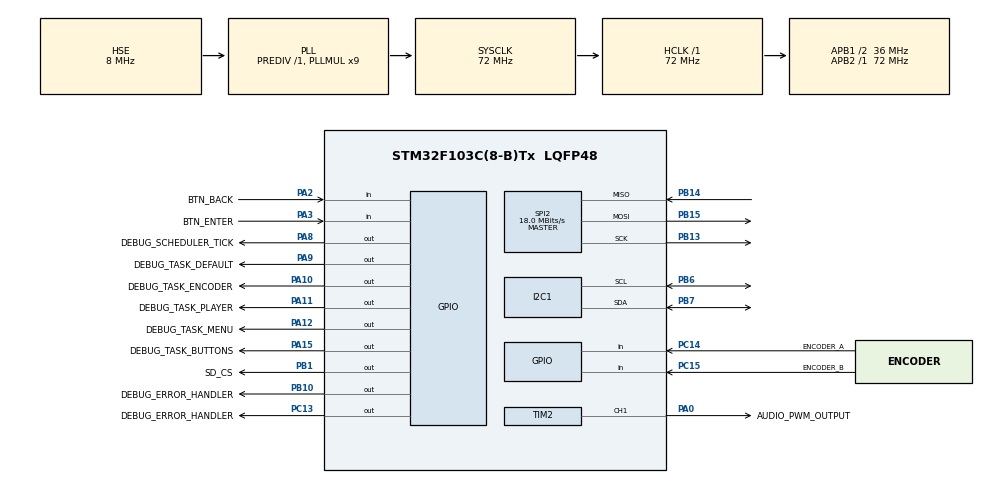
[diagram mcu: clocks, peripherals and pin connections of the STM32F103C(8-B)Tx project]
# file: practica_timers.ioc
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FATFS._FS_REENTRANT=0
FREERTOS.Mutexes01=menuMutex,Dynamic,NULL,Available;playerMutex,Dynamic,NULL,Available;fftMutex,Dynamic,NULL,Available
FREERTOS.Tasks01=defaultTask,24,128,StartDefaultTask,Default,NULL,Dynamic,NULL,NULL;menuTask,23,170,handleMenu,Default,(&displayParams),Dynamic,NULL,NULL;acceptButtonTas,40,200,handleButtonPress,Default,(&acceptButtonParams),Dynamic,NULL,NULL;cancelButtonTas,40,128,handleButtonPress,Default,(&cancelButtonParams),Dynamic,NULL,NULL;encoderTask,40,200,handleEncoder,Default,NULL,Dynamic,NULL,NULL;musicPlayer,8,200,handleMusicPlayer,Default,NULL,Dynamic,NULL,NULL;transformTask,8,400,handleFFT,Default,NULL,Dynamic,NULL,NULL
FREERTOS.configTOTAL_HEAP_SIZE=7200
FREERTOS.configUSE_APPLICATION_TASK_TAG=1
FREERTOS.configUSE_NEWLIB_REENTRANT=0
FREERTOS.configUSE_TICK_HOOK=1
I2C1.I2C_Mode=I2C_Fast
Mcu.Family=STM32F1
Mcu.Name=STM32F103C(8-B)Tx
Mcu.Package=LQFP48
NVIC.PriorityGroup=NVIC_PRIORITYGROUP_4
NVIC.TIM3_IRQn=true\:5\:0\:false\:false\:true\:true\:true\:true\:true
NVIC.TIM4_IRQn=true\:15\:0\:false\:false\:true\:false\:false\:true\:true
NVIC.TimeBase=TIM4_IRQn
NVIC.TimeBaseIP=TIM4
PA0-WKUP.GPIO_Label=AUDIO_PWM_OUTPUT
PA0-WKUP.Signal=S_TIM2_CH1_ETR
PA10.GPIO_Label=DEBUG_TASK_ENCODER
PA10.Signal=GPIO_Output
PA11.GPIO_Label=DEBUG_TASK_PLAYER
PA11.Signal=GPIO_Output
PA12.GPIO_Label=DEBUG_TASK_MENU
PA12.Signal=GPIO_Output
PA13.Mode=Serial_Wire
PA13.Signal=SYS_JTMS-SWDIO
PA14.Mode=Serial_Wire
PA14.Signal=SYS_JTCK-SWCLK
PA15.GPIO_Label=DEBUG_TASK_BUTTONS
PA15.Signal=GPIO_Output
PA2.GPIO_Label=BTN_BACK
PA2.Signal=GPIO_Input
PA3.GPIO_Label=BTN_ENTER
PA3.Signal=GPIO_Input
PA8.GPIO_Label=DEBUG_SCHEDULER_TICK
PA8.Signal=GPIO_Output
PA9.GPIO_Label=DEBUG_TASK_DEFAULT
PA9.Signal=GPIO_Output
PB1.GPIO_Label=SD_CS
PB1.Signal=GPIO_Output
PB10.GPIO_Label=DEBUG_ERROR_HANDLER
PB10.Signal=GPIO_Output
PB13.Mode=Full_Duplex_Master
PB13.Signal=SPI2_SCK
PB14.Mode=Full_Duplex_Master
PB14.Signal=SPI2_MISO
PB15.Mode=Full_Duplex_Master
PB15.Signal=SPI2_MOSI
PB6.Mode=I2C
PB6.Signal=I2C1_SCL
PB7.Mode=I2C
PB7.Signal=I2C1_SDA
PC13-TAMPER-RTC.GPIO_Label=DEBUG_ERROR_HANDLER
PC13-TAMPER-RTC.Signal=GPIO_Output
PC14-OSC32_IN.GPIO_Label=ENCODER_A
PC14-OSC32_IN.Signal=GPIO_Input
PC15-OSC32_OUT.GPIO_Label=ENCODER_B
PC15-OSC32_OUT.Signal=GPIO_Input
PD0-OSC_IN.Mode=HSE-External-Oscillator
PD0-OSC_IN.Signal=RCC_OSC_IN
PD1-OSC_OUT.Mode=HSE-External-Oscillator
PD1-OSC_OUT.Signal=RCC_OSC_OUT
ProjectManager.HeapSize=0x200
ProjectManager.StackSize=0x400
ProjectManager.TargetToolchain=STM32CubeIDE
RCC.AHBFreq_Value=72000000
RCC.APB1CLKDivider=RCC_HCLK_DIV2
RCC.APB1Freq_Value=36000000
RCC.APB1TimFreq_Value=72000000
RCC.APB2Freq_Value=72000000
RCC.APB2TimFreq_Value=72000000
RCC.HCLKFreq_Value=72000000
RCC.PLLMUL=RCC_PLL_MUL9
RCC.PLLSourceVirtual=RCC_PLLSOURCE_HSE
RCC.SYSCLKFreq_VALUE=72000000
RCC.SYSCLKSource=RCC_SYSCLKSOURCE_PLLCLK
RCC.USBFreq_Value=72000000
SH.S_TIM2_CH1_ETR.0=TIM2_CH1,PWM Generation1 CH1
SPI2.CalculateBaudRate=18.0 MBits/s
SPI2.Direction=SPI_DIRECTION_2LINES
SPI2.Mode=SPI_MODE_MASTER
SPI2.VirtualType=VM_MASTER
TIM2.Channel-PWM\ Generation1\ CH1=TIM_CHANNEL_1
TIM2.Period=720-1
TIM2.Prescaler=1-1
TIM2.Pulse-PWM\ Generation1\ CH1=500
TIM3.Period=9000-1
TIM3.Prescaler=0
VP_FATFS_VS_Generic.Mode=User_defined
VP_FREERTOS_VS_CMSIS_V2.Mode=CMSIS_V2
VP_SYS_VS_tim4.Mode=TIM4
VP_TIM2_VS_ClockSourceINT.Mode=Internal
VP_TIM3_VS_ClockSourceINT.Mode=Internal
board=custom

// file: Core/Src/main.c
/* USER CODE BEGIN Header */
/**
 ******************************************************************************
 * @file           : main.c
 * @brief          : Main program body
 ******************************************************************************
 * @attention
 *
 * Copyright (c) 2025 STMicroelectronics.
 * All rights reserved.
 *
 * This software is licensed under terms that can be found in the LICENSE file
 * in the root directory of this software component.
 * If no LICENSE file comes with this software, it is provided AS-IS.
 *
 ******************************************************************************
 */
/* USER CODE END Header */
#include "main.h"
#include "cmsis_os.h"
#include "fatfs.h"

/* USER CODE BEGIN Includes */
#include "fonts.h"
#include "ssd1306.h"
#include "user_diskio_spi.h"
#include "task.h"
// #include "musica.h"
#include "error_messages.h"
#include "fft.h"

/* USER CODE END Includes */

/* USER CODE BEGIN PD */
#define SCREEN_WIDTH 128
#define SCREEN_WIDTH_1_4 (SCREEN_WIDTH / 4)
#define SCREEN_WIDTH_2_4 (SCREEN_WIDTH * 2 / 4)
#define SCREEN_WIDTH_3_4 (SCREEN_WIDTH * 3 / 4)
#define SCREEN_HEIGHT 64
#define SCREEN_HEIGHT_2 (SCREEN_HEIGHT / 2)
#define TEXT_X_OFFSET 10

// definiciones para el encoder
#define ENCODER_DEBOUCE_DELAY 400
#define ENCODER_A_POS (0)
#define ENCODER_B_POS (1)
#define ENCODER_A_PREV_STATE (0b00000100)
#define ENCODER_B_PREV_STATE (0b00001000)
#define ENCODER_A_STATE (0b00000001)
#define ENCODER_B_STATE (0b00000010)
#define GET_ENCODER_DIRECTION(_state) ((_state & ENCODER_B_STATE) != (_state & ENCODER_A_STATE))

// cosas para debugear
// se puede elegir que es lo que se prubea para aislar los errores
#define DEBUG_WATERMARK // Debug para ver el tamaño del stack de cada tarea
#define ACTIVATE_DEBUG_PIN() (HAL_GPIO_TogglePin(DEBUG_ERROR_HANDLERB10_GPIO_Port, DEBUG_ERROR_HANDLERB10_Pin))
#define DEBUG_SD
// #define DEBUG_TASKS
#define AUDIO_BUFFER_SIZE 32
// #define DEBUG_SCREEN

#define SCREEN_SAVER_TIMEOUT 5000
/* USER CODE END PD */

I2C_HandleTypeDef hi2c1;

SPI_HandleTypeDef hspi2;

TIM_HandleTypeDef htim2;
TIM_HandleTypeDef htim3;

/* Definitions for defaultTask */
osThreadId_t defaultTaskHandle;
const osThreadAttr_t defaultTask_attributes = {
  .name = "defaultTask",
  .stack_size = 128 * 4,
  .priority = (osPriority_t) osPriorityNormal,
};
/* Definitions for menuTask */
osThreadId_t menuTaskHandle;
const osThreadAttr_t menuTask_attributes = {
  .name = "menuTask",
  .stack_size = 170 * 4,
  .priority = (osPriority_t) osPriorityBelowNormal7,
};
/* Definitions for acceptButtonTas */
osThreadId_t acceptButtonTasHandle;
const osThreadAttr_t acceptButtonTas_attributes = {
  .name = "acceptButtonTas",
  .stack_size = 200 * 4,
  .priority = (osPriority_t) osPriorityHigh,
};
/* Definitions for cancelButtonTas */
osThreadId_t cancelButtonTasHandle;
const osThreadAttr_t cancelButtonTas_attributes = {
  .name = "cancelButtonTas",
  .stack_size = 128 * 4,
  .priority = (osPriority_t) osPriorityHigh,
};
/* Definitions for encoderTask */
osThreadId_t encoderTaskHandle;
const osThreadAttr_t encoderTask_attributes = {
  .name = "encoderTask",
  .stack_size = 200 * 4,
  .priority = (osPriority_t) osPriorityHigh,
};
/* Definitions for musicPlayer */
osThreadId_t musicPlayerHandle;
const osThreadAttr_t musicPlayer_attributes = {
  .name = "musicPlayer",
  .stack_size = 200 * 4,
  .priority = (osPriority_t) osPriorityLow,
};
/* Definitions for transformTask */
osThreadId_t transformTaskHandle;
const osThreadAttr_t transformTask_attributes = {
  .name = "transformTask",
  .stack_size = 400 * 4,
  .priority = (osPriority_t) osPriorityLow,
};
/* Definitions for menuMutex */
osMutexId_t menuMutexHandle;
const osMutexAttr_t menuMutex_attributes = {
  .name = "menuMutex"
};
/* Definitions for playerMutex */
osMutexId_t playerMutexHandle;
const osMutexAttr_t playerMutex_attributes = {
  .name = "playerMutex"
};
/* Definitions for fftMutex */
osMutexId_t fftMutexHandle;
const osMutexAttr_t fftMutex_attributes = {
  .name = "fftMutex"
};
/* USER CODE BEGIN PV */

static DisplayParams displayParams = {.menu = START, .errorMessage = ""};
// static DisplayParams displayParams = {.menu = ERROR_STATE, .errorMessage = "TEST ERROR"};
static AudioPlayerOptions audioPlayerOpts = {
	.isReadingMusicFile = FALSE,
	.isPlaying = FALSE,
	.filename = "test.wav",
	.bufIndex = 0,
	.shouldLoadBuffer = FALSE,
	.currentPath = "/",
};
static FileBrowser fileBrowser = {0};

const ButtonParams acceptButtonParams = {.type = ACCEPT, .port = GPIOA, .pin = GPIO_PIN_3};
const ButtonParams cancelButtonParams = {.type = CANCEL, .port = GPIOA, .pin = GPIO_PIN_2};

uint32_t prev_point_angle = 0;
uint32_t point_angle = 0;
uint32_t lastInteractionTick = 0;

// Para el reproductor de música
FATFS FatFs;
FIL fil;
FRESULT fres;
UINT bytesRead;
BYTE wavBuffer[AUDIO_BUFFER_SIZE];
struct cmpx wavBufferFFT[64];

// Testing
volatile size_t freeHeap;
UBaseType_t uxHighWaterMark_TASK1;
UBaseType_t uxHighWaterMark_TASK2;
UBaseType_t uxHighWaterMark_TASK3;
UBaseType_t uxHighWaterMark_TASK4;
UBaseType_t uxHighWaterMark_TASK5;
UBaseType_t uxHighWaterMark_TASK6;

// Para no usar 'math.h' uso una tabla de valores
// const float sin_table[361] = {0.00000f, 0.03490f, 0.06976f, 0.10453f, 0.13917f,
// 							  0.17365f, 0.20791f, 0.24192f, 0.27564f, 0.30902f, 0.34202f, 0.37461f,
// 							  0.40674f, 0.43837f, 0.46947f, 0.50000f, 0.52992f, 0.55919f, 0.58779f,
// 							  0.61566f, 0.64279f, 0.66913f, 0.69466f, 0.71934f, 0.74314f, 0.76604f,
// 							  0.78801f, 0.80902f, 0.82904f, 0.84805f, 0.86603f, 0.88295f, 0.89879f,
// 							  0.91355f, 0.92718f, 0.93969f, 0.95106f, 0.96126f, 0.97030f, 0.97815f,
// 							  0.98481f, 0.99027f, 0.99452f, 0.99756f, 0.99939f, 1.00000f, 0.99939f,
// 							  0.99756f, 0.99452f, 0.99027f, 0.98481f, 0.97815f, 0.97030f, 0.96126f,
// 							  0.95106f, 0.93969f, 0.92718f, 0.91355f, 0.89879f, 0.88295f, 0.86603f,
// 							  0.84805f, 0.82904f, 0.80902f, 0.78801f, 0.76604f, 0.74314f, 0.71934f,
// 							  0.69466f, 0.66913f, 0.64279f, 0.61566f, 0.58779f, 0.55919f, 0.52992f,
// 							  0.50000f, 0.46947f, 0.43837f, 0.40674f, 0.37461f, 0.34202f, 0.30902f,
// 							  0.27564f, 0.24192f, 0.20791f, 0.17365f, 0.13917f, 0.10453f, 0.06976f,
// 							  0.03490f, 0.00000f, -0.03490f, -0.06976f, -0.10453f, -0.13917f,
// 							  -0.17365f, -0.20791f, -0.24192f, -0.27564f, -0.30902f, -0.34202f,
// 							  -0.37461f, -0.40674f, -0.43837f, -0.46947f, -0.50000f, -0.52992f,
// 							  -0.55919f, -0.58779f, -0.61566f, -0.64279f, -0.66913f, -0.69466f,
// 							  -0.71934f, -0.74314f, -0.76604f, -0.78801f, -0.80902f, -0.82904f,
// 							  -0.84805f, -0.86603f, -0.88295f, -0.89879f, -0.91355f, -0.92718f,
// 							  -0.93969f, -0.95106f, -0.96126f, -0.97030f, -0.97815f, -0.98481f,
// 							  -0.99027f, -0.99452f, -0.99756f, -0.99939f, -1.00000f, -0.99939f,
// 							  -0.99756f, -0.99452f, -0.99027f, -0.98481f, -0.97815f, -0.97030f,
// 							  -0.96126f, -0.95106f, -0.93969f, -0.92718f, -0.91355f, -0.89879f,
// 							  -0.88295f, -0.86603f, -0.84805f, -0.82904f, -0.80902f, -0.78801f,
// 							  -0.76604f, -0.74314f, -0.71934f, -0.69466f, -0.66913f, -0.64279f,
// 							  -0.61566f, -0.58779f, -0.55919f, -0.52992f, -0.50000f, -0.46947f,
// 							  -0.43837f, -0.40674f, -0.37461f, -0.34202f, -0.30902f, -0.27564f,
// 							  -0.24192f, -0.20791f, -0.17365f, -0.13917f, -0.10453f, -0.06976f,
// 							  -0.03490f, -0.00000f, 0.03490f, 0.06976f, 0.10453f, 0.13917f, 0.17365f,
// 							  0.20791f, 0.24192f, 0.27564f, 0.30902f, 0.34202f, 0.37461f, 0.40674f,
// 							  0.43837f, 0.46947f, 0.50000f, 0.52992f, 0.55919f, 0.58779f, 0.61566f,
// 							  0.64279f, 0.66913f, 0.69466f, 0.71934f, 0.74314f, 0.76604f, 0.78801f,
// 							  0.80902f, 0.82904f, 0.84805f, 0.86603f, 0.88295f, 0.89879f, 0.91355f,
// 							  0.92718f, 0.93969f, 0.95106f, 0.96126f, 0.97030f, 0.97815f, 0.98481f,
// 							  0.99027f, 0.99452f, 0.99756f, 0.99939f, 1.00000f, 0.99939f, 0.99756f,
// 							  0.99452f, 0.99027f, 0.98481f, 0.97815f, 0.97030f, 0.96126f, 0.95106f,
// 							  0.93969f, 0.92718f, 0.91355f, 0.89879f, 0.88295f, 0.86603f, 0.84805f,
// 							  0.82904f, 0.80902f, 0.78801f, 0.76604f, 0.74314f, 0.71934f, 0.69466f,
// 							  0.66913f, 0.64279f, 0.61566f, 0.58779f, 0.55919f, 0.52992f, 0.50000f,
// 							  0.46947f, 0.43837f, 0.40674f, 0.37461f, 0.34202f, 0.30902f, 0.27564f,
// 							  0.24192f, 0.20791f, 0.17365f, 0.13917f, 0.10453f, 0.06976f, 0.03490f,
// 							  0.00000f, -0.03490f, -0.06976f, -0.10453f, -0.13917f, -0.17365f,
// 							  -0.20791f, -0.24192f, -0.27564f, -0.30902f, -0.34202f, -0.37461f,
// 							  -0.40674f, -0.43837f, -0.46947f, -0.50000f, -0.52992f, -0.55919f,
// 							  -0.58779f, -0.61566f, -0.64279f, -0.66913f, -0.69466f, -0.71934f,
// 							  -0.74314f, -0.76604f, -0.78801f, -0.80902f, -0.82904f, -0.84805f,
// 							  -0.86603f, -0.88295f, -0.89879f, -0.91355f, -0.92718f, -0.93969f,
// 							  -0.95106f, -0.96126f, -0.97030f, -0.97815f, -0.98481f, -0.99027f,
// 							  -0.99452f, -0.99756f, -0.99939f, -1.00000f, -0.99939f, -0.99756f,
// 							  -0.99452f, -0.99027f, -0.98481f, -0.97815f, -0.97030f, -0.96126f,
// 							  -0.95106f, -0.93969f, -0.92718f, -0.91355f, -0.89879f, -0.88295f,
// 							  -0.86603f, -0.84805f, -0.82904f, -0.80902f, -0.78801f, -0.76604f,
// 							  -0.74314f, -0.71934f, -0.69466f, -0.66913f, -0.64279f, -0.61566f,
// 							  -0.58779f, -0.55919f, -0.52992f, -0.50000f, -0.46947f, -0.43837f,
// 							  -0.40674f, -0.37461f, -0.34202f, -0.30902f, -0.27564f, -0.24192f,
// 							  -0.20791f, -0.17365f, -0.13917f, -0.10453f, -0.06976f, -0.00000f};

// const float cos_table[361] = {1.00000f, 0.99939f, 0.99756f, 0.99452f, 0.99027f,
// 							  0.98481f, 0.97815f, 0.97030f, 0.96126f, 0.95106f, 0.93969f, 0.92718f,
// 							  0.91355f, 0.89879f, 0.88295f, 0.86603f, 0.84805f, 0.82904f, 0.80902f,
// 							  0.78801f, 0.76604f, 0.74314f, 0.71934f, 0.69466f, 0.66913f, 0.64279f,
// 							  0.61566f, 0.58779f, 0.55919f, 0.52992f, 0.50000f, 0.46947f, 0.43837f,
// 							  0.40674f, 0.37461f, 0.34202f, 0.30902f, 0.27564f, 0.24192f, 0.20791f,
// 							  0.17365f, 0.13917f, 0.10453f, 0.06976f, 0.03490f, 0.00000f, -0.03490f,
// 							  -0.06976f, -0.10453f, -0.13917f, -0.17365f, -0.20791f, -0.24192f,
// 							  -0.27564f, -0.30902f, -0.34202f, -0.37461f, -0.40674f, -0.43837f,
// 							  -0.46947f, -0.50000f, -0.52992f, -0.55919f, -0.58779f, -0.61566f,
// 							  -0.64279f, -0.66913f, -0.69466f, -0.71934f, -0.74314f, -0.76604f,
// 							  -0.78801f, -0.80902f, -0.82904f, -0.84805f, -0.86603f, -0.88295f,
// 							  -0.89879f, -0.91355f, -0.92718f, -0.93969f, -0.95106f, -0.96126f,
// 							  -0.97030f, -0.97815f, -0.98481f, -0.99027f, -0.99452f, -0.99756f,
// 							  -0.99939f, -1.00000f, -0.99939f, -0.99756f, -0.99452f, -0.99027f,
// 							  -0.98481f, -0.97815f, -0.97030f, -0.96126f, -0.95106f, -0.93969f,
// 							  -0.92718f, -0.91355f, -0.89879f, -0.88295f, -0.86603f, -0.84805f,
// 							  -0.82904f, -0.80902f, -0.78801f, -0.76604f, -0.74314f, -0.71934f,
// 							  -0.69466f, -0.66913f, -0.64279f, -0.61566f, -0.58779f, -0.55919f,
// 							  -0.52992f, -0.50000f, -0.46947f, -0.43837f, -0.40674f, -0.37461f,
// 							  -0.34202f, -0.30902f, -0.27564f, -0.24192f, -0.20791f, -0.17365f,
// 							  -0.13917f, -0.10453f, -0.06976f, -0.03490f, -0.00000f, 0.03490f,
// 							  0.06976f, 0.10453f, 0.13917f, 0.17365f, 0.20791f, 0.24192f, 0.27564f,
// 							  0.30902f, 0.34202f, 0.37461f, 0.40674f, 0.43837f, 0.46947f, 0.50000f,
// 							  0.52992f, 0.55919f, 0.58779f, 0.61566f, 0.64279f, 0.66913f, 0.69466f,
// 							  0.71934f, 0.74314f, 0.76604f, 0.78801f, 0.80902f, 0.82904f, 0.84805f,
// 							  0.86603f, 0.88295f, 0.89879f, 0.91355f, 0.92718f, 0.93969f, 0.95106f,
// 							  0.96126f, 0.97030f, 0.97815f, 0.98481f, 0.99027f, 0.99452f, 0.99756f,
// 							  0.99939f, 1.00000f, 0.99939f, 0.99756f, 0.99452f, 0.99027f, 0.98481f,
// 							  0.97815f, 0.97030f, 0.96126f, 0.95106f, 0.93969f, 0.92718f, 0.91355f,
// 							  0.89879f, 0.88295f, 0.86603f, 0.84805f, 0.82904f, 0.80902f, 0.78801f,
// 							  0.76604f, 0.74314f, 0.71934f, 0.69466f, 0.66913f, 0.64279f, 0.61566f,
// 							  0.58779f, 0.55919f, 0.52992f, 0.50000f, 0.46947f, 0.43837f, 0.40674f,
// 							  0.37461f, 0.34202f, 0.30902f, 0.27564f, 0.24192f, 0.20791f, 0.17365f,
// 							  0.13917f, 0.10453f, 0.06976f, 0.03490f, 0.00000f, -0.03490f, -0.06976f,
// 							  -0.10453f, -0.13917f, -0.17365f, -0.20791f, -0.24192f, -0.27564f,
// 							  -0.30902f, -0.34202f, -0.37461f, -0.40674f, -0.43837f, -0.46947f,
// 							  -0.50000f, -0.52992f, -0.55919f, -0.58779f, -0.61566f, -0.64279f,
// 							  -0.66913f, -0.69466f, -0.71934f, -0.74314f, -0.76604f, -0.78801f,
// 							  -0.80902f, -0.82904f, -0.84805f, -0.86603f, -0.88295f, -0.89879f,
// 							  -0.91355f, -0.92718f, -0.93969f, -0.95106f, -0.96126f, -0.97030f,
// 							  -0.97815f, -0.98481f, -0.99027f, -0.99452f, -0.99756f, -0.99939f,
// 							  -1.00000f, -0.99939f, -0.99756f, -0.99452f, -0.99027f, -0.98481f,
// 							  -0.97815f, -0.97030f, -0.96126f, -0.95106f, -0.93969f, -0.92718f,
// 							  -0.91355f, -0.89879f, -0.88295f, -0.86603f, -0.84805f, -0.82904f,
// 							  -0.80902f, -0.78801f, -0.76604f, -0.74314f, -0.71934f, -0.69466f,
// 							  -0.66913f, -0.64279f, -0.61566f, -0.58779f, -0.55919f, -0.52992f,
// 							  -0.50000f, -0.46947f, -0.43837f, -0.40674f, -0.37461f, -0.34202f,
// 							  -0.30902f, -0.27564f, -0.24192f, -0.20791f, -0.17365f, -0.13917f,
// 							  -0.10453f, -0.06976f, -0.03490f, -0.00000f, 0.03490f, 0.06976f,
// 							  0.10453f, 0.13917f, 0.17365f, 0.20791f, 0.24192f, 0.27564f, 0.30902f,
// 							  0.34202f, 0.37461f, 0.40674f, 0.43837f, 0.46947f, 0.50000f, 0.52992f,
// 							  0.55919f, 0.58779f, 0.61566f, 0.64279f, 0.66913f, 0.69466f, 0.71934f,
// 							  0.74314f, 0.76604f, 0.78801f, 0.80902f, 0.82904f, 0.84805f, 0.86603f,
// 							  0.88295f, 0.89879f, 0.91355f, 0.92718f, 0.93969f, 0.95106f, 0.96126f,
// 							  0.97030f, 0.97815f, 0.98481f, 0.99027f, 0.99452f, 0.99756f, 0.99939f,
// 							  1.00000f};

/* USER CODE END PV */

void SystemClock_Config(void);
static void MX_GPIO_Init(void);
static void MX_I2C1_Init(void);
static void MX_SPI2_Init(void);
static void MX_TIM2_Init(void);
static void MX_TIM3_Init(void);
void StartDefaultTask(void *argument);
void handleMenu(void *argument);
void handleButtonPress(void *argument);
void handleEncoder(void *argument);
void handleMusicPlayer(void *argument);
void handleFFT(void *argument);

int main(void)
{

  /* MCU Configuration--------------------------------------------------------*/

  /* Reset of all peripherals, Initializes the Flash interface and the Systick. */
  HAL_Init();

  /* Configure the system clock */
  SystemClock_Config();

  /* Initialize all configured peripherals */
  MX_GPIO_Init();
  MX_I2C1_Init();
  MX_FATFS_Init();
  MX_SPI2_Init();
  MX_TIM2_Init();
  MX_TIM3_Init();
  /* USER CODE BEGIN 2 */

	// si falla la conexion i2c se hace una hard fault
	if (SSD1306_Init() == 0)
	{
#ifdef DEBUG_SCREEN
		ACTIVATE_DEBUG_PIN();
#endif
		Error_Handler();
	}

	// Comenzar timer para la PWM
	HAL_TIM_PWM_Start_IT(&htim2, TIM_CHANNEL_1);
	HAL_TIM_OC_Start_IT(&htim3, TIM_CHANNEL_1);

  /* USER CODE END 2 */

  /* Init scheduler */
  osKernelInitialize();
  /* Create the mutex(es) */
  /* creation of menuMutex */
  menuMutexHandle = osMutexNew(&menuMutex_attributes);

  /* creation of playerMutex */
  playerMutexHandle = osMutexNew(&playerMutex_attributes);

  /* creation of fftMutex */
  fftMutexHandle = osMutexNew(&fftMutex_attributes);

  /* Create the thread(s) */
  /* creation of defaultTask */
  defaultTaskHandle = osThreadNew(StartDefaultTask, NULL, &defaultTask_attributes);

  /* creation of menuTask */
  menuTaskHandle = osThreadNew(handleMenu, (void*) (&displayParams), &menuTask_attributes);

  /* creation of acceptButtonTas */
  acceptButtonTasHandle = osThreadNew(handleButtonPress, (void*) (&acceptButtonParams), &acceptButtonTas_attributes);

  /* creation of cancelButtonTas */
  cancelButtonTasHandle = osThreadNew(handleButtonPress, (void*) (&cancelButtonParams), &cancelButtonTas_attributes);

  /* creation of encoderTask */
  encoderTaskHandle = osThreadNew(handleEncoder, NULL, &encoderTask_attributes);

  /* creation of musicPlayer */
  musicPlayerHandle = osThreadNew(handleMusicPlayer, NULL, &musicPlayer_attributes);

  /* creation of transformTask */
  transformTaskHandle = osThreadNew(handleFFT, NULL, &transformTask_attributes);

  /* Start scheduler */
  osKernelStart();

  /* We should never get here as control is now taken by the scheduler */

  /* Infinite loop */
	while (1)
	{

	}
}

void SystemClock_Config(void)
{
  RCC_OscInitTypeDef RCC_OscInitStruct = {0};
  RCC_ClkInitTypeDef RCC_ClkInitStruct = {0};

  /** Initializes the RCC Oscillators according to the specified parameters
  * in the RCC_OscInitTypeDef structure.
  */
  RCC_OscInitStruct.OscillatorType = RCC_OSCILLATORTYPE_HSE;
  RCC_OscInitStruct.HSEState = RCC_HSE_ON;
  RCC_OscInitStruct.HSEPredivValue = RCC_HSE_PREDIV_DIV1;
  RCC_OscInitStruct.HSIState = RCC_HSI_ON;
  RCC_OscInitStruct.PLL.PLLState = RCC_PLL_ON;
  RCC_OscInitStruct.PLL.PLLSource = RCC_PLLSOURCE_HSE;
  RCC_OscInitStruct.PLL.PLLMUL = RCC_PLL_MUL9;
  if (HAL_RCC_OscConfig(&RCC_OscInitStruct) != HAL_OK)
  {
    Error_Handler();
  }

  /** Initializes the CPU, AHB and APB buses clocks
  */
  RCC_ClkInitStruct.ClockType = RCC_CLOCKTYPE_HCLK|RCC_CLOCKTYPE_SYSCLK
                              |RCC_CLOCKTYPE_PCLK1|RCC_CLOCKTYPE_PCLK2;
  RCC_ClkInitStruct.SYSCLKSource = RCC_SYSCLKSOURCE_PLLCLK;
  RCC_ClkInitStruct.AHBCLKDivider = RCC_SYSCLK_DIV1;
  RCC_ClkInitStruct.APB1CLKDivider = RCC_HCLK_DIV2;
  RCC_ClkInitStruct.APB2CLKDivider = RCC_HCLK_DIV1;

  if (HAL_RCC_ClockConfig(&RCC_ClkInitStruct, FLASH_LATENCY_2) != HAL_OK)
  {
    Error_Handler();
  }
}

static void MX_I2C1_Init(void)
{

  hi2c1.Instance = I2C1;
  hi2c1.Init.ClockSpeed = 400000;
  hi2c1.Init.DutyCycle = I2C_DUTYCYCLE_2;
  hi2c1.Init.OwnAddress1 = 0;
  hi2c1.Init.AddressingMode = I2C_ADDRESSINGMODE_7BIT;
  hi2c1.Init.DualAddressMode = I2C_DUALADDRESS_DISABLE;
  hi2c1.Init.OwnAddress2 = 0;
  hi2c1.Init.GeneralCallMode = I2C_GENERALCALL_DISABLE;
  hi2c1.Init.NoStretchMode = I2C_NOSTRETCH_DISABLE;
  if (HAL_I2C_Init(&hi2c1) != HAL_OK)
  {
    Error_Handler();
  }

}

static void MX_SPI2_Init(void)
{

  /* SPI2 parameter configuration*/
  hspi2.Instance = SPI2;
  hspi2.Init.Mode = SPI_MODE_MASTER;
  hspi2.Init.Direction = SPI_DIRECTION_2LINES;
  hspi2.Init.DataSize = SPI_DATASIZE_8BIT;
  hspi2.Init.CLKPolarity = SPI_POLARITY_LOW;
  hspi2.Init.CLKPhase = SPI_PHASE_1EDGE;
  hspi2.Init.NSS = SPI_NSS_SOFT;
  hspi2.Init.BaudRatePrescaler = SPI_BAUDRATEPRESCALER_2;
  hspi2.Init.FirstBit = SPI_FIRSTBIT_MSB;
  hspi2.Init.TIMode = SPI_TIMODE_DISABLE;
  hspi2.Init.CRCCalculation = SPI_CRCCALCULATION_DISABLE;
  hspi2.Init.CRCPolynomial = 10;
  if (HAL_SPI_Init(&hspi2) != HAL_OK)
  {
    Error_Handler();
  }

}

static void MX_TIM2_Init(void)
{

  TIM_ClockConfigTypeDef sClockSourceConfig = {0};
  TIM_MasterConfigTypeDef sMasterConfig = {0};
  TIM_OC_InitTypeDef sConfigOC = {0};

  htim2.Instance = TIM2;
  htim2.Init.Prescaler = 1-1;
  htim2.Init.CounterMode = TIM_COUNTERMODE_UP;
  htim2.Init.Period = 720-1;
  htim2.Init.ClockDivision = TIM_CLOCKDIVISION_DIV1;
  htim2.Init.AutoReloadPreload = TIM_AUTORELOAD_PRELOAD_DISABLE;
  if (HAL_TIM_Base_Init(&htim2) != HAL_OK)
  {
    Error_Handler();
  }
  sClockSourceConfig.ClockSource = TIM_CLOCKSOURCE_INTERNAL;
  if (HAL_TIM_ConfigClockSource(&htim2, &sClockSourceConfig) != HAL_OK)
  {
    Error_Handler();
  }
  if (HAL_TIM_PWM_Init(&htim2) != HAL_OK)
  {
    Error_Handler();
  }
  sMasterConfig.MasterOutputTrigger = TIM_TRGO_RESET;
  sMasterConfig.MasterSlaveMode = TIM_MASTERSLAVEMODE_DISABLE;
  if (HAL_TIMEx_MasterConfigSynchronization(&htim2, &sMasterConfig) != HAL_OK)
  {
    Error_Handler();
  }
  sConfigOC.OCMode = TIM_OCMODE_PWM1;
  sConfigOC.Pulse = 500;
  sConfigOC.OCPolarity = TIM_OCPOLARITY_HIGH;
  sConfigOC.OCFastMode = TIM_OCFAST_DISABLE;
  if (HAL_TIM_PWM_ConfigChannel(&htim2, &sConfigOC, TIM_CHANNEL_1) != HAL_OK)
  {
    Error_Handler();
  }
  HAL_TIM_MspPostInit(&htim2);

}

static void MX_TIM3_Init(void)
{

  TIM_ClockConfigTypeDef sClockSourceConfig = {0};
  TIM_MasterConfigTypeDef sMasterConfig = {0};

  htim3.Instance = TIM3;
  htim3.Init.Prescaler = 0;
  htim3.Init.CounterMode = TIM_COUNTERMODE_UP;
  htim3.Init.Period = 9000-1;
  htim3.Init.ClockDivision = TIM_CLOCKDIVISION_DIV1;
  htim3.Init.AutoReloadPreload = TIM_AUTORELOAD_PRELOAD_DISABLE;
  if (HAL_TIM_Base_Init(&htim3) != HAL_OK)
  {
    Error_Handler();
  }
  sClockSourceConfig.ClockSource = TIM_CLOCKSOURCE_INTERNAL;
  if (HAL_TIM_ConfigClockSource(&htim3, &sClockSourceConfig) != HAL_OK)
  {
    Error_Handler();
  }
  sMasterConfig.MasterOutputTrigger = TIM_TRGO_RESET;
  sMasterConfig.MasterSlaveMode = TIM_MASTERSLAVEMODE_DISABLE;
  if (HAL_TIMEx_MasterConfigSynchronization(&htim3, &sMasterConfig) != HAL_OK)
  {
    Error_Handler();
  }

}

static void MX_GPIO_Init(void)
{
  GPIO_InitTypeDef GPIO_InitStruct = {0};

  /* GPIO Ports Clock Enable */
  __HAL_RCC_GPIOC_CLK_ENABLE();
  __HAL_RCC_GPIOD_CLK_ENABLE();
  __HAL_RCC_GPIOA_CLK_ENABLE();
  __HAL_RCC_GPIOB_CLK_ENABLE();

  /*Configure GPIO pin Output Level */
  HAL_GPIO_WritePin(DEBUG_ERROR_HANDLER_GPIO_Port, DEBUG_ERROR_HANDLER_Pin, GPIO_PIN_RESET);

  /*Configure GPIO pin Output Level */
  HAL_GPIO_WritePin(GPIOB, SD_CS_Pin|DEBUG_ERROR_HANDLERB10_Pin, GPIO_PIN_RESET);

  /*Configure GPIO pin Output Level */
  HAL_GPIO_WritePin(GPIOA, DEBUG_SCHEDULER_TICK_Pin|DEBUG_TASK_DEFAULT_Pin|DEBUG_TASK_ENCODER_Pin|DEBUG_TASK_PLAYER_Pin
                          |DEBUG_TASK_MENU_Pin|DEBUG_TASK_BUTTONS_Pin, GPIO_PIN_RESET);

  /*Configure GPIO pin : DEBUG_ERROR_HANDLER_Pin */
  GPIO_InitStruct.Pin = DEBUG_ERROR_HANDLER_Pin;
  GPIO_InitStruct.Mode = GPIO_MODE_OUTPUT_PP;
  GPIO_InitStruct.Pull = GPIO_NOPULL;
  GPIO_InitStruct.Speed = GPIO_SPEED_FREQ_LOW;
  HAL_GPIO_Init(DEBUG_ERROR_HANDLER_GPIO_Port, &GPIO_InitStruct);

  /*Configure GPIO pins : ENCODER_A_Pin ENCODER_B_Pin */
  GPIO_InitStruct.Pin = ENCODER_A_Pin|ENCODER_B_Pin;
  GPIO_InitStruct.Mode = GPIO_MODE_INPUT;
  GPIO_InitStruct.Pull = GPIO_NOPULL;
  HAL_GPIO_Init(GPIOC, &GPIO_InitStruct);

  /*Configure GPIO pins : BTN_BACK_Pin BTN_ENTER_Pin */
  GPIO_InitStruct.Pin = BTN_BACK_Pin|BTN_ENTER_Pin;
  GPIO_InitStruct.Mode = GPIO_MODE_INPUT;
  GPIO_InitStruct.Pull = GPIO_NOPULL;
  HAL_GPIO_Init(GPIOA, &GPIO_InitStruct);

  /*Configure GPIO pins : SD_CS_Pin DEBUG_ERROR_HANDLERB10_Pin */
  GPIO_InitStruct.Pin = SD_CS_Pin|DEBUG_ERROR_HANDLERB10_Pin;
  GPIO_InitStruct.Mode = GPIO_MODE_OUTPUT_PP;
  GPIO_InitStruct.Pull = GPIO_NOPULL;
  GPIO_InitStruct.Speed = GPIO_SPEED_FREQ_LOW;
  HAL_GPIO_Init(GPIOB, &GPIO_InitStruct);

  /*Configure GPIO pins : DEBUG_SCHEDULER_TICK_Pin DEBUG_TASK_DEFAULT_Pin DEBUG_TASK_ENCODER_Pin DEBUG_TASK_PLAYER_Pin
                           DEBUG_TASK_MENU_Pin DEBUG_TASK_BUTTONS_Pin */
  GPIO_InitStruct.Pin = DEBUG_SCHEDULER_TICK_Pin|DEBUG_TASK_DEFAULT_Pin|DEBUG_TASK_ENCODER_Pin|DEBUG_TASK_PLAYER_Pin
                          |DEBUG_TASK_MENU_Pin|DEBUG_TASK_BUTTONS_Pin;
  GPIO_InitStruct.Mode = GPIO_MODE_OUTPUT_PP;
  GPIO_InitStruct.Pull = GPIO_NOPULL;
  GPIO_InitStruct.Speed = GPIO_SPEED_FREQ_LOW;
  HAL_GPIO_Init(GPIOA, &GPIO_InitStruct);

}

/* USER CODE BEGIN 4 */

// Esta es una aproximacion de la sqrt de 'math.h' para evitar su importación
// hay otras aproximaciones también
float fast_sqrt(float number)
{
	if (number == 0.0f)
		return 0.0f;
	float x2 = number * 0.5f;
	float y = number;
	long i = *(long *)&y;
	i = 0x5f3759df - (i >> 1);
	y = *(float *)&i;
	y = y * (1.5f - (x2 * y * y));
	return number * y;
}

// Callback para cuando se entra a una tarea
void debug_callback(int tag, Bool shouldActivate)
{
	GPIO_PinState pinState = shouldActivate ? GPIO_PIN_SET : GPIO_PIN_RESET;
	switch (tag)
	{
	case PLAYER_TASK_TAG:
		HAL_GPIO_WritePin(DEBUG_TASK_PLAYER_GPIO_Port, DEBUG_TASK_PLAYER_Pin,
						  pinState);
		break;
	case MENU_TASK_TAG:
		HAL_GPIO_WritePin(DEBUG_TASK_MENU_GPIO_Port, DEBUG_TASK_MENU_Pin,
						  pinState);
		break;
	case ENCONDER_TASK_TAG:
		HAL_GPIO_WritePin(DEBUG_TASK_ENCODER_GPIO_Port, DEBUG_TASK_ENCODER_Pin,
						  pinState);
		break;

	case DEFAULT_TASK_TAG:
		HAL_GPIO_WritePin(DEBUG_TASK_DEFAULT_GPIO_Port, DEBUG_TASK_DEFAULT_Pin,
						  pinState);
		break;
	case BUTTONS_TASK_TAG:
		HAL_GPIO_WritePin(DEBUG_TASK_BUTTONS_GPIO_Port, DEBUG_TASK_BUTTONS_Pin,
						  pinState);
	default:
		break;
	}
}

// Actualiza la lista de archivos en el directorio actual
FRESULT searchFilesInFolder()
{
	uint16_t count = 0;
	FILINFO fno;
	DIR dir;

	// fres = f_opendir(&dir, audioPlayerOpts.currentPath);
	fres = f_opendir(&dir, "/");
	if (fres != FR_OK)
		return fres;

	fileBrowser.fileCount = 0;

	while (1)
	{
		fres = f_readdir(&dir, &fno);
		if (fres != FR_OK || fno.fname[0] == 0)
			break;

		// saltan los archivos que no son  wav
		if (!(fno.fattrib & AM_DIR) && (strstr(fno.fname, ".wav") || strstr(fno.fname, ".WAV")))
		{
			if (count < MAX_FILES)
			{
				strncpy(fileBrowser.filenames[count], fno.fname, sizeof(fileBrowser.filenames[count]));
				fileBrowser.filenames[count][255] = '\0';
				count++;
			}
		}
	}

	fileBrowser.fileCount = count;
	fileBrowser.selectedIndex = 0;
	f_closedir(&dir);
	return FR_OK;
}

// void SelectCurrentFile()
// {
// 	if (fileBrowser.fileCount == 0)
// 		return;

// 	char fullPath[256];
// 	// snprintf(fullPath, sizeof(fullPath), "%s/%s",
// 	// 		 audioPlayerOpts.currentPath,
// 	// 		 fileBrowser.filenames[fileBrowser.selectedIndex]);

// 	if (fil.obj.fs != 0)
// 	{
// 		f_close(&fil);
// 	}

// 	fres = f_open(&fil, fullPath, FA_READ);
// 	if (fres == FR_OK)
// 	{
// 		strncpy(audioPlayerOpts.filename, fullPath, sizeof(audioPlayerOpts.filename) - 1);
// 		audioPlayerOpts.filename[sizeof(audioPlayerOpts.filename) - 1] = '\0';
// 		audioPlayerOpts.bufIndex = 0;
// 		audioPlayerOpts.shouldLoadBuffer = TRUE;
// 	}
// }

void HAL_TIM_OC_DelayElapsedCallback(TIM_HandleTypeDef *htim)
{

	// debug_callback(DEFAULT_TASK_TAG, TRUE);

	// Esto lo hice para probar que funcionaba con las muestras dadas
	// TIM2->CCR1 = musica[audioPlayerOpts.bufIndex];
	// audioPlayerOpts.bufIndex = (audioPlayerOpts.bufIndex + 1) % NMUSICA;

	if (!audioPlayerOpts.shouldLoadBuffer)
	{
		osMutexAcquire(playerMutexHandle, osWaitForever);
		audioPlayerOpts.bufIndex = (audioPlayerOpts.bufIndex + 1) % AUDIO_BUFFER_SIZE;
		TIM2->CCR1 = wavBuffer[audioPlayerOpts.bufIndex] * 2.8; // lo hago x3 porque son de 256 y el máximo es 720 (se va a saturar un poco, pero tampoco es tanto)

		if (audioPlayerOpts.bufIndex == (AUDIO_BUFFER_SIZE - 1))
		{
			audioPlayerOpts.shouldLoadBuffer = TRUE;
		}
		osMutexRelease(playerMutexHandle);
	}
	// debug_callback(DEFAULT_TASK_TAG, FALSE);
}

/* USER CODE END 4 */

void StartDefaultTask(void *argument)
{
  /* USER CODE BEGIN 5 */
	vTaskSetApplicationTaskTag(NULL, (void *)DEFAULT_TASK_TAG);
	/* Infinite loop */
	for (;;)
	{
		if (displayParams.menu != FILES && displayParams.menu != EQUALIZER && displayParams.menu != ERROR_STATE)
		{
			if (HAL_GetTick() - lastInteractionTick > SCREEN_SAVER_TIMEOUT)
			{
				osMutexAcquire(menuMutexHandle, osWaitForever);
				displayParams.menu = START;
				osMutexRelease(menuMutexHandle);
			}
		}

#ifdef DEBUG_WATERMARK
		uxHighWaterMark_TASK1 = uxTaskGetStackHighWaterMark(NULL);
#endif

		osDelay(20);
	}
  /* USER CODE END 5 */
}

void handleMenu(void *argument)
{
  /* USER CODE BEGIN handleMenu */
	vTaskSetApplicationTaskTag(NULL, (void *)MENU_TASK_TAG);

	DisplayMenu menu = START;
	DisplayMenu prevMenu = START;

	// uint32_t temp_angle;
	uint32_t ballHeight1 = 0;
	uint32_t ballHeight2 = -10;
	uint32_t ballHeight3 = 10;

	uint32_t ballVelocity1 = 1;
	uint32_t ballVelocity2 = 1;
	uint32_t ballVelocity3 = 1;

	for (;;)
	{

		menu = ((DisplayParams *)argument)->menu;

		if (prevMenu != menu)
		{
			prevMenu = menu;
			SSD1306_Clear();
		}

		switch (menu)
		{
		case START:

			SSD1306_DrawFilledCircle(SCREEN_WIDTH_1_4, SCREEN_HEIGHT_2 + ballHeight1,
									 5, SSD1306_COLOR_WHITE);
			SSD1306_DrawFilledCircle(SCREEN_WIDTH_1_4, SCREEN_HEIGHT_2 + (ballHeight1 - ballVelocity1),
									 5, SSD1306_COLOR_BLACK);

			SSD1306_DrawFilledCircle(SCREEN_WIDTH_2_4, SCREEN_HEIGHT_2 + ballHeight2,
									 7, SSD1306_COLOR_WHITE);
			SSD1306_DrawFilledCircle(SCREEN_WIDTH_2_4, SCREEN_HEIGHT_2 + (ballHeight2 - ballVelocity2),
									 7, SSD1306_COLOR_BLACK);

			SSD1306_DrawFilledCircle(SCREEN_WIDTH_3_4, SCREEN_HEIGHT_2 + ballHeight3,
									 9, SSD1306_COLOR_WHITE);
			SSD1306_DrawFilledCircle(SCREEN_WIDTH_3_4, SCREEN_HEIGHT_2 + (ballHeight3 - ballVelocity3),
									 9, SSD1306_COLOR_BLACK);

			ballHeight1 += ballVelocity1;
			ballHeight2 += ballVelocity2;
			ballHeight3 += ballVelocity3;

			if (SCREEN_HEIGHT_2 + ballHeight1 >= (SCREEN_HEIGHT - 5) || SCREEN_HEIGHT_2 + ballHeight1 < 5)
			{
				ballVelocity1 = -ballVelocity1;
				ballHeight1 += ballVelocity1;
			}
			if (SCREEN_HEIGHT_2 + ballHeight2 >= (SCREEN_HEIGHT - 7) || SCREEN_HEIGHT_2 + ballHeight2 < (7))
			{
				ballVelocity2 = -ballVelocity2;
				ballHeight2 += ballVelocity2;
			}
			if (SCREEN_HEIGHT_2 + ballHeight3 >= (SCREEN_HEIGHT - 9) || SCREEN_HEIGHT_2 + ballHeight3 < 9)
			{
				ballVelocity3 = -ballVelocity3;
				ballHeight3 += ballVelocity3;
			}

			// SSD1306_DrawFilledCircle(halfWidth, halfHeight,
			// 						 SCREEN_HEIGHT / 3 + 7, SSD1306_COLOR_BLACK);

			// temp_angle =
			// 	prev_point_angle + 60 > 360 ? (prev_point_angle + 60) - 360 : prev_point_angle + 60;
			// SSD1306_DrawFilledCircle(
			// 	halfWidth + SCREEN_HEIGHT / 3 * cos_table[temp_angle],
			// 	halfHeight + SCREEN_HEIGHT / 3 * sin_table[temp_angle], 6,
			// 	SSD1306_COLOR_WHITE);

			// temp_angle =
			// 	prev_point_angle + 30 > 360 ? (prev_point_angle + 30) - 360 : prev_point_angle + 30;
			// SSD1306_DrawFilledCircle(
			// 	halfWidth + SCREEN_HEIGHT / 3 * cos_table[temp_angle],
			// 	64 / 2 + 64 / 3 * sin_table[temp_angle], 4,
			// 	SSD1306_COLOR_WHITE);
			// SSD1306_DrawFilledCircle(
			// 	halfWidth + SCREEN_HEIGHT / 3 * cos_table[point_angle],
			// 	64 / 2 + 64 / 3 * sin_table[point_angle], 2,
			// 	SSD1306_COLOR_WHITE);

			// if (point_angle >= 360)
			// {
			// 	prev_point_angle = point_angle;
			// 	point_angle = 0;
			// }
			// else
			// {
			// 	prev_point_angle = point_angle;
			// 	point_angle += 8;
			// }

			break;
		case MENU:
			SSD1306_GotoXY(TEXT_X_OFFSET, SCREEN_HEIGHT_2);
			SSD1306_Puts("< Menu >", &Font_7x10, 1);
			break;
		case EQUALIZER_MENU:
			SSD1306_GotoXY(TEXT_X_OFFSET, SCREEN_HEIGHT_2);
			SSD1306_Puts("< Equal >", &Font_7x10, 1);
			break;
		case EQUALIZER_HIGH:
			SSD1306_GotoXY(TEXT_X_OFFSET, SCREEN_HEIGHT_2);
			SSD1306_Puts("< Altos >", &Font_7x10, 1);
			break;
		case EQUALIZER_MID:
			SSD1306_GotoXY(TEXT_X_OFFSET, SCREEN_HEIGHT_2);
			SSD1306_Puts("< Medios >", &Font_7x10, 1);
			break;
		case EQUALIZER_LOW:
			SSD1306_GotoXY(TEXT_X_OFFSET, SCREEN_HEIGHT_2);
			SSD1306_Puts("< Bajos >", &Font_7x10, 1);
			break;
		case FOLDER_SEARCH:
			SSD1306_GotoXY(TEXT_X_OFFSET, SCREEN_HEIGHT_2);
			SSD1306_Puts("< Carpetas >", &Font_7x10, 1);
			break;
		case FILES_SEARCH:
			SSD1306_GotoXY(TEXT_X_OFFSET, SCREEN_HEIGHT_2);
			SSD1306_Puts("< Archivos >", &Font_7x10, 1);
			break;
		case FILES:
			SSD1306_GotoXY(TEXT_X_OFFSET, SCREEN_HEIGHT_2);
			SSD1306_Puts(fileBrowser.filenames[fileBrowser.selectedIndex], &Font_7x10, 1);
			break;
		case DIRECTORIES:
			break;

		case ERROR_STATE:
			SSD1306_GotoXY(TEXT_X_OFFSET, SCREEN_HEIGHT_2);
			SSD1306_Puts(displayParams.errorMessage, &Font_7x10, 1);
			break;

		case EQUALIZER:
			SSD1306_GotoXY(0, SCREEN_HEIGHT);
			for (int i = 0; i < 64; i++)
				SSD1306_DrawFilledRectangle(i * 2, 0, 1, wavBufferFFT[i].real, SSD1306_COLOR_WHITE);
			break;

		default:
			break;
		}

		SSD1306_UpdateScreen();

#ifdef DEBUG_WATERMARK
		uxHighWaterMark_TASK2 = uxTaskGetStackHighWaterMark(NULL);
#endif

		osDelay(67);
	}
  /* USER CODE END handleMenu */
}

void handleButtonPress(void *argument)
{
  /* USER CODE BEGIN handleButtonPress */

	vTaskSetApplicationTaskTag(NULL, (void *)BUTTONS_TASK_TAG);

	/* Infinite loop */
	Bool isButtonPressed = FALSE;

	// Recupero los parámetros del botón
	ButtonParams btnParams = *((ButtonParams *)argument);

	for (;;)
	{

		if (btnParams.type == CANCEL)
		{
			HAL_GPIO_TogglePin(btnParams.port, btnParams.pin);
		}

		// Esta lógica evita tener muchos disparos de botón
		if (HAL_GPIO_ReadPin(btnParams.port, btnParams.pin) == GPIO_PIN_RESET && isButtonPressed == FALSE)
		{
			isButtonPressed = TRUE;
			lastInteractionTick = HAL_GetTick();

			// lógica del boton aceptar
			if (btnParams.type == ACCEPT)
			{

				switch (displayParams.menu)
				{
				case START:
					displayParams.menu = MENU;
					break;
				case EQUALIZER_MENU:
					displayParams.menu = EQUALIZER;
					break;
				case FILES_SEARCH:
				{
					// Se detiene la lectura del archivo de musica
					osMutexAcquire(playerMutexHandle, osWaitForever);
					audioPlayerOpts.isReadingMusicFile = FALSE;
					osMutexRelease(playerMutexHandle);

					FRESULT result = searchFilesInFolder();
					osMutexAcquire(menuMutexHandle, osWaitForever);
					if (result == FR_OK)
					{
						displayParams.menu = FILES;
					}
					else
					{
						displayParams.menu = START;
					}
					osMutexRelease(menuMutexHandle);
					break;
				}
				case FILES:
					// se debería reproducir el archivo actual
					osMutexAcquire(playerMutexHandle, osWaitForever);
					strncpy(audioPlayerOpts.filename,
							fileBrowser.filenames[fileBrowser.selectedIndex],
							sizeof(audioPlayerOpts.filename));
					audioPlayerOpts.shouldLoadBuffer = TRUE;
					audioPlayerOpts.isPlaying = TRUE;
					osMutexRelease(playerMutexHandle);

					osMutexAcquire(menuMutexHandle, osWaitForever);
					displayParams.menu = START;
					osMutexRelease(menuMutexHandle);
					break;
				default:
					break;
				}
			}
			else
			{
				osMutexAcquire(menuMutexHandle, osWaitForever);
				switch (displayParams.menu)
				{
				case MENU:
				case EQUALIZER_MENU:
				case EQUALIZER_HIGH:
				case EQUALIZER_MID:
				case EQUALIZER_LOW:
				case FILES_SEARCH:
				case FOLDER_SEARCH:
					displayParams.menu = START;
					break;
				case FILES:
					displayParams.menu = FILES_SEARCH;
					break;
				case EQUALIZER:
					displayParams.menu = EQUALIZER_MENU;
					break;
				default:
					break;
				}
				osMutexRelease(menuMutexHandle);
			}

			osDelay(50);
		}
		else if (HAL_GPIO_ReadPin(btnParams.port, btnParams.pin) == GPIO_PIN_SET && isButtonPressed == TRUE)
		{
			isButtonPressed = FALSE;
			osDelay(10);
		}

#ifdef DEBUG_WATERMARK
		uxHighWaterMark_TASK3 = uxTaskGetStackHighWaterMark(NULL);
#endif

		osDelay(20);
	}
  /* USER CODE END handleButtonPress */
}

void handleEncoder(void *argument)
{
  /* USER CODE BEGIN handleEncoder */

	vTaskSetApplicationTaskTag(NULL, (void *)ENCONDER_TASK_TAG);

	static const int8_t encoderTable[4][4] = {{0, +1, -1, 0},
											  {-1, 0, 0, +1},
											  {+1, 0, 0, -1},
											  {0, -1, +1, 0}};

	uint8_t prev = 0;
	uint8_t curr;

	for (;;)
	{

		curr = ((HAL_GPIO_ReadPin(ENCODER_B_GPIO_Port, ENCODER_B_Pin) == GPIO_PIN_RESET) << 1) | (HAL_GPIO_ReadPin(ENCODER_A_GPIO_Port, ENCODER_A_Pin) == GPIO_PIN_RESET);

		if (curr != prev)
		{

			int8_t direction = encoderTable[prev][curr];
			prev = curr;

			if (direction != 0 && HAL_GetTick() - lastInteractionTick > ENCODER_DEBOUCE_DELAY)
			{
				lastInteractionTick = HAL_GetTick();

				osMutexAcquire(menuMutexHandle, osWaitForever);

				if (displayParams.menu <= MENU && direction == -1)
				{
					displayParams.menu = FILES_SEARCH;
				}
				else if (displayParams.menu == FILES_SEARCH && direction == 1)
				{
					displayParams.menu = MENU;
				}
				else if (displayParams.menu == FILES)
				{
					if (direction == 1 && fileBrowser.selectedIndex < (fileBrowser.fileCount - 1))
						fileBrowser.selectedIndex = (fileBrowser.selectedIndex + 1) % fileBrowser.fileCount;
					else if (direction == 1 && fileBrowser.selectedIndex >= (fileBrowser.fileCount - 1))
						fileBrowser.selectedIndex = 0;
					else if (direction == -1 && (fileBrowser.selectedIndex - 1) >= 0)
						fileBrowser.selectedIndex = (fileBrowser.selectedIndex - 1) % fileBrowser.fileCount;
					else if (direction == -1 && (fileBrowser.selectedIndex - 1) < 0)
						fileBrowser.selectedIndex = fileBrowser.fileCount - 1;
				}
				else if (displayParams.menu == ERROR_STATE)
				{
					displayParams.menu = START;
				}
				else
				{
					displayParams.menu += direction;
				}

				osMutexRelease(menuMutexHandle);
			}
		}

#ifdef DEBUG_WATERMARK
		uxHighWaterMark_TASK4 = uxTaskGetStackHighWaterMark(NULL);
#endif

		osDelay(20);
	}

  /* USER CODE END handleEncoder */
}

void handleMusicPlayer(void *argument)
{
  /* USER CODE BEGIN handleMusicPlayer */
	vTaskSetApplicationTaskTag(NULL, (void *)PLAYER_TASK_TAG);

	// Se monta la SD y queda montada para siempre
	fres = f_mount(&FatFs, "", FA_READ);
	if (fres != FR_OK)
	{
#ifdef DEBUG_SD
		ACTIVATE_DEBUG_PIN();
#endif
	Error_Handler();
	}

	/* Infinite loop */
	for (;;)
	{

		if (audioPlayerOpts.isPlaying && audioPlayerOpts.shouldLoadBuffer)
		{

			// Se tiene que abrir el archivo
			if (!audioPlayerOpts.isReadingMusicFile)
			{
				fres = f_open(&fil, audioPlayerOpts.filename, FA_READ);
				if (fres != FR_OK)
				{
					osMutexAcquire(menuMutexHandle, osWaitForever);
					strncpy(displayParams.errorMessage, ERROR_OPEN_FILE,
							sizeof(displayParams.errorMessage));
					displayParams.menu = ERROR_STATE;
					osMutexRelease(menuMutexHandle);
					continue;
				}
				audioPlayerOpts.isReadingMusicFile = TRUE;
			}

			// Ahora se lee la información del archivo de prueba
			fres = f_read(&fil, wavBuffer, sizeof(wavBuffer), &bytesRead);
			if (fres != FR_OK)
			{
				osMutexAcquire(menuMutexHandle, osWaitForever);
				strncpy(displayParams.errorMessage, ERROR_READING_AUDIO_FILE,
						sizeof(displayParams.errorMessage));
				displayParams.menu = ERROR_STATE;
				osMutexRelease(menuMutexHandle);

				osMutexAcquire(playerMutexHandle, osWaitForever);
				audioPlayerOpts.isPlaying = FALSE;
				osMutexRelease(playerMutexHandle);
				continue;
			}

			if (bytesRead == 0)
			{
				f_lseek(&fil, 0);
				continue;
			}

			osMutexAcquire(playerMutexHandle, osWaitForever);
			audioPlayerOpts.shouldLoadBuffer = FALSE;
			osMutexRelease(playerMutexHandle);

			// TODO: se debería cerrar el archivo, pero con un callback o algo así
			// f_close(&fil);
		}

#ifdef DEBUG_WATERMARK
		uxHighWaterMark_TASK5 = uxTaskGetStackHighWaterMark(NULL);
#endif

		osDelay(1);
	}
  /* USER CODE END handleMusicPlayer */
}

void handleFFT(void *argument)
{
  /* USER CODE BEGIN handleFFT */
	/* Infinite loop */
	for (;;)
	{
		osMutexAcquire(fftMutexHandle, osWaitForever);
		FFT(wavBufferFFT, sizeof(wavBufferFFT));
		osMutexRelease(fftMutexHandle);

#ifdef DEBUG_WATERMARK
	uxHighWaterMark_TASK6 = uxTaskGetStackHighWaterMark(NULL);
#endif

		osDelay(500);
	}
  /* USER CODE END handleFFT */
}

void HAL_TIM_PeriodElapsedCallback(TIM_HandleTypeDef *htim)
{
  /* USER CODE BEGIN Callback 0 */

	freeHeap = xPortGetFreeHeapSize();

  /* USER CODE END Callback 0 */
  if (htim->Instance == TIM4)
  {
    HAL_IncTick();
  }
}

void Error_Handler(void)
{
  /* USER CODE BEGIN Error_Handler_Debug */
	/* User can add his own implementation to report the HAL error return state */
	__disable_irq();
	while (1)
	{
		HAL_GPIO_TogglePin(GPIOC, GPIO_PIN_13);
		for (uint32_t i = 0; i < 5000; i++)
		{
			for (uint32_t j = 0; j < 100; j++)
			{
			}
		}
	}
  /* USER CODE END Error_Handler_Debug */
}

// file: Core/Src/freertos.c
/* USER CODE BEGIN Header */
/**
  ******************************************************************************
  * File Name          : freertos.c
  * Description        : Code for freertos applications
  ******************************************************************************
  * @attention
  *
  * Copyright (c) 2025 STMicroelectronics.
  * All rights reserved.
  *
  * This software is licensed under terms that can be found in the LICENSE file
  * in the root directory of this software component.
  * If no LICENSE file comes with this software, it is provided AS-IS.
  *
  ******************************************************************************
  */
/* USER CODE END Header */

#include "FreeRTOS.h"
#include "task.h"
#include "main.h"

/* Hook prototypes */
void vApplicationTickHook(void);

/* USER CODE BEGIN 3 */
void vApplicationTickHook( void )
{
   /* This function will be called by each tick interrupt if
   configUSE_TICK_HOOK is set to 1 in FreeRTOSConfig.h. User code can be
   added here, but the tick hook is called from an interrupt context, so
   code must not attempt to block, and only the interrupt safe FreeRTOS API
   functions can be used (those that end in FromISR()). */

    // Pulse a GPIO pin (e.g., PA8)
    GPIOA->BSRR = GPIO_BSRR_BS8;  // Set pin
    GPIOA->BSRR = GPIO_BSRR_BR8; // Reset pin
}
/* USER CODE END 3 */
